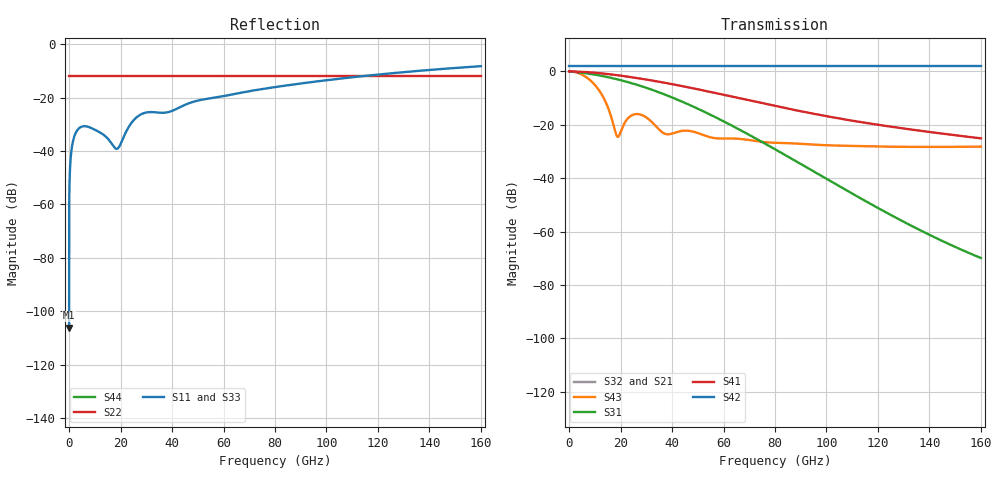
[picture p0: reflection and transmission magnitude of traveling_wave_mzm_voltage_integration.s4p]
! Created with skrf 1.13.0 (http://scikit-rf.org).
# Hz S RI R 30.0
! Port[1] = rf_in
! Port[2] = integration_in
! Port[3] = rf_out
! Port[4] = integrated_voltage
!freq ReS11 ImS11 ReS12 ImS12 ReS13 ImS13
! ReS14 ImS14
! ReS21 ImS21 ReS22 ImS22 ReS23 ImS23
! ReS24 ImS24
! ReS31 ImS31 ReS32 ImS32 ReS33 ImS33
! ReS34 ImS34
! ReS41 ImS41 ReS42 ImS42 ReS43 ImS43
! ReS44 ImS44
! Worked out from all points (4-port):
!   881 points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, 1 kHz to 160 GHz, reference 30 ohm
!   strongest paths, dB at 1 kHz, 28.82 GHz, 72.55 GHz, 116.3 GHz, 160 GHz:
!     S42: 1.9, 1.9, 1.9, 1.9, 1.9
!     S41: 0.0, -2.9, -11.4, -19.5, -25.1
!     S31: 0.0, -5.8, -25.1, -49.2, -69.9
!     S43: 0.0, -16.6, -26.1, -28.1, -28.2
!     S32: -, -, -, -, -
!     S21: -, -, -, -, -
!   lowest |S11| = -106.2 dB at 1 kHz (marker M1), VSWR 1.00, Z = 30 + j6.23e-07 ohm
!   |S11| at or under -10 dB: start of sweep to 136.1 GHz
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1000  4.91e-06 1.04e-08  3.75e-12 -6.36e-19  1 -1.78e-07  -2.47e-17 -5.92e-24
      -9.66e-18 -1.74e-23  0.25 -2.21e-23  -9.66e-18 -1.74e-23  9.66e-18 1.92e-23
      1 -1.78e-07  3.75e-12 -6.36e-19  4.91e-06 1.04e-08  -2.75e-18 1.13e-23
      1 -1.87e-07  1.25 -2.12e-07  1 -1.87e-07  7.91e-17 -9.88e-24
4.77625e9  0.0265 0.01  2.3e-12 -2.36e-12  0.6454 -0.6896  -2.08e-30 -3.44e-29
           1.89e-16 2.96e-16  0.25 -1.08e-16  3.58e-17 -1.89e-16  -1.14e-17 1.08e-17
           0.6454 -0.6896  2.54e-12 -2.67e-12  0.0265 0.01  -5.67e-29 5.09e-29
           0.618 -0.7651  0.8611 -0.9061  0.5599 -0.6764  5.92e-17 -5.23e-18
8.387875e10  0.00913 0.1663  2.61e-14 -1.68e-13  0.019 0.0195  1.96e-31 -2.6e-31
             -5.96e-18 -1.74e-18  0.25 -8.17e-18  -2.24e-18 -3.69e-18  -1.79e-18 -1.84e-19
             0.019 0.0195  4.22e-13 -6.47e-13  0.00913 0.1663  2.76e-30 3.65e-29
             -0.1542 -0.1365  -0.1278 -1.243  -0.0433 -0.0134  5.92e-17 -6.01e-19
1.017662e11  0.023 0.2144  2.05e-14 -1.53e-13  0.00495 -0.00711  2.57e-30 3.43e-31
             2.28e-18 -5.69e-18  0.25 4.58e-19  7.07e-19 5.43e-18  -9.2e-20 -6.28e-17
             0.00495 -0.00711  -3.81e-13 3.6e-13  0.023 0.2144  -1.02e-29 -1.4e-29
             0.1107 0.0852  -0.00321 1.25  -0.041 0.000943  1.38e-17 -2.32e-20
1.206475e11  0.0484 0.2661  1.5e-14 -1.46e-13  -0.00219 -0.00151  2.41e-30 4.55e-31
             1.91e-18 2.47e-18  0.25 -5.25e-18  1.38e-18 5.14e-18  5.31e-18 -6.26e-17
             -0.00219 -0.00151  2.82e-13 -2.4e-13  0.0484 0.2661  -2.04e-30 7.71e-30
             -0.0915 -0.0375  -0.0764 -1.248  -0.0364 0.0143  1.05e-16 4.9e-19
1.389325e11  0.0842 0.3136  7.68e-15 -1.44e-13  -0.000717 0.00058  2.4e-30 2.59e-31
             2.07e-18 -1.02e-18  0.25 -2.74e-18  1.37e-19 1.57e-18  3.48e-18 -6.27e-17
             -0.000717 0.00058  -2.38e-13 1.46e-13  0.0842 0.3136  -1.77e-30 -2.13e-29
             0.0724 0.0172  0.0296 1.25  -0.0286 0.0258  1.38e-17 -6.62e-19
1.6e11  0.1382 0.3605  -5.19e-15 -1.46e-13  0.00011 0.0003  -3.04e-30 7.93e-31
        -1.77e-18 -2.1e-18  0.25 -6.22e-17  -2.28e-18 -1.64e-18  1.76e-17 7.87e-17
        0.00011 0.0003  1.4e-13 -1.55e-13  0.1382 0.3605  -5.78e-30 -1.23e-29
        -0.051 0.0223  -0.5534 -1.121  -0.0148 0.0361  1.38e-17 1.69e-17
